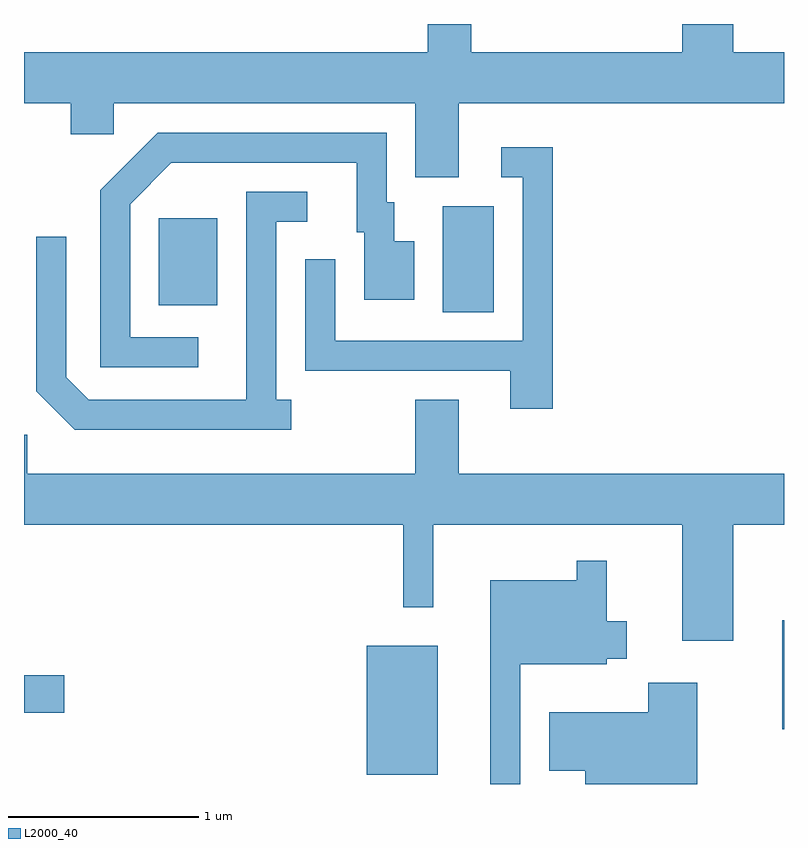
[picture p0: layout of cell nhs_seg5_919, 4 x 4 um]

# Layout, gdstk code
import gdstk
lib = gdstk.Library(unit=1e-6, precision=1e-09)
def R(c, l, rs):  # rectangles x0, y0, x1, y1
    for r in rs: c.add(gdstk.rectangle(r[:2], r[2:], *l))
def P(c, l, *ps):  # polygons
    for p in ps: c.add(gdstk.Polygon(p, *l))
L2000_40 = (2000, 40)

nhs_seg5_919 = lib.new_cell('nhs_seg5_919')
R(nhs_seg5_919, L2000_40, [(213.416,1482.121,213.789,1482.799), (215.601,1482.361,215.611,1482.934), (211.611,1482.446,211.824,1482.644), (213.816,1484.556,214.084,1485.114), (212.321,1484.591,212.629,1485.049)])
P(nhs_seg5_919, L2000_40, [(213.899,1485.656),(215.611,1485.656),(215.611,1485.924),(215.344,1485.924),(215.344,1486.072),(215.076,1486.072),(215.076,1485.924),(213.964,1485.924),(213.964,1486.072),(213.736,1486.072),(213.736,1485.924),(211.611,1485.924),(211.611,1485.656),(211.856,1485.656),(211.856,1485.491),(212.084,1485.491),(212.084,1485.656),(213.671,1485.656),(213.671,1485.266),(213.899,1485.266)],
  [(212.528,1484.424),(212.169,1484.424),(212.169,1485.124),(212.387,1485.341),(213.361,1485.341),(213.361,1484.976),(213.401,1484.976),(213.401,1484.621),(213.664,1484.621),(213.664,1484.929),(213.559,1484.929),(213.559,1485.134),(213.519,1485.134),(213.519,1485.499),(212.314,1485.499),(212.011,1485.197),(212.011,1484.266),(212.528,1484.266)],
  [(214.394,1485.424),(214.123,1485.424),(214.123,1485.266),(214.236,1485.266),(214.236,1484.404),(213.249,1484.404),(213.249,1484.833),(213.091,1484.833),(213.091,1484.246),(214.171,1484.246),(214.171,1484.046),(214.394,1484.046)],
  [(213.018,1484.094),(212.939,1484.094),(212.939,1485.031),(213.103,1485.031),(213.103,1485.189),(212.781,1485.189),(212.781,1484.094),(211.952,1484.094),(211.834,1484.212),(211.834,1484.953),(211.676,1484.953),(211.676,1484.139),(211.879,1483.936),(213.018,1483.936)],
  [(215.344,1483.436),(215.611,1483.436),(215.611,1483.704),(213.899,1483.704),(213.899,1484.094),(213.671,1484.094),(213.671,1483.704),(211.629,1483.704),(211.629,1483.909),(211.611,1483.909),(211.611,1483.436),(213.606,1483.436),(213.606,1483.003),(213.764,1483.003),(213.764,1483.436),(215.076,1483.436),(215.076,1482.826),(215.344,1482.826)],
  [(214.224,1482.701),(214.679,1482.701),(214.679,1482.731),(214.784,1482.731),(214.784,1482.929),(214.679,1482.929),(214.679,1483.248),(214.521,1483.248),(214.521,1483.144),(214.066,1483.144),(214.066,1482.072),(214.224,1482.072)],
  [(215.154,1482.604),(214.896,1482.604),(214.896,1482.449),(214.376,1482.449),(214.376,1482.141),(214.566,1482.141),(214.566,1482.072),(215.154,1482.072)])

lib.write_gds('nhs_seg5_919.gds')
